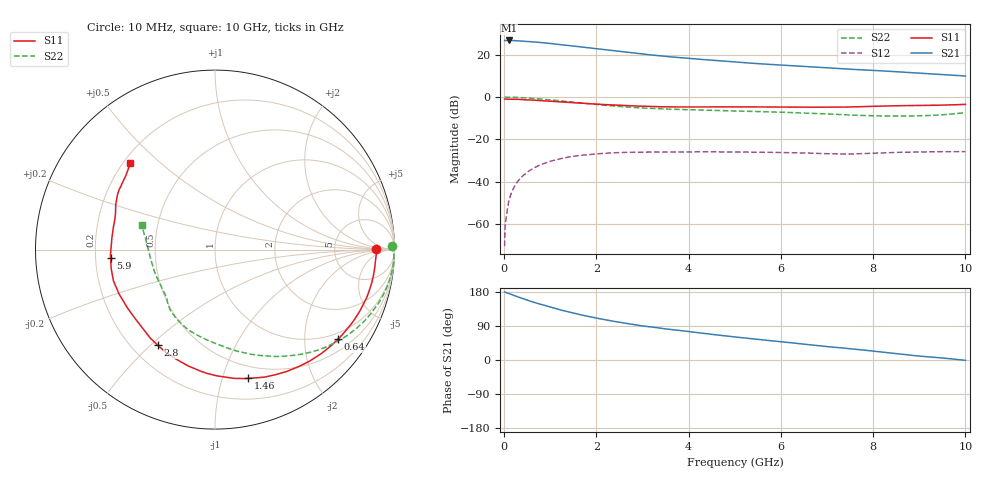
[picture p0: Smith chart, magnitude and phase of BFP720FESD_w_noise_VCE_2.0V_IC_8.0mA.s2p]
! Infineon Technologies  Discrete & RF Semiconductors
! BFP720FESD
! VCE =  2.0 V,  IC =  8.0 mA
! Common Emitter S-Parameters:  Jan 2016
# GHz  S  MA  R  50
!  f  S11  S21  S12  S22
! GHz  MAG  ANG  MAG  ANG  MAG  ANG  MAG  ANG
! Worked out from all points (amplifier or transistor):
!   233 points, 10 MHz to 10 GHz, reference 50 ohm
!   highest |S21| = 26.8 dB at 100 MHz (marker M1)
!   |S21| within 3 dB of that: start of sweep to 1.641 GHz
!   unconditionally stable (mu >= 1): 6.659 GHz to end of sweep
!   at 200 MHz: K = 0.03, MSG = 35.0 dB, |S12| = -43.2 dB
!   at 1.74 GHz: K = 0.25, MSG = 25.4 dB, |S12| = -27.3 dB
!   at 10 GHz: K = 1.37, MAG = 14.2 dB, |S12| = -25.7 dB
!   lowest NFmin = 0.62 dB at 450 MHz
!   S11 on the Smith chart (normalised r, x): 10 MHz: 19, +1; 640 MHz: 0.81, -2.86; 1.46 GHz: 0.38, -1.22; 2.8 GHz: 0.30, -0.53; 5.9 GHz: 0.26, -0.04; 10 GHz: 0.23, +0.40
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0.01  0.8981 0.2  21.84 179.7  0.0003 99.7  0.9838 1.2
0.02  0.9003 -1.0  21.79 179.1  0.0009 83.9  0.9956 -0.6
0.1  0.8962 -5.7  21.9 175.8  0.0034 87.7  0.9974 -3.8
0.2  0.893 -11.7  21.83 171.1  0.0069 83.4  0.992 -7.7
0.32  0.884 -18.6  21.51 165.7  0.011 79.1  0.9804 -12.3
0.5  0.8648 -28.6  20.86 158.0  0.0168 73.3  0.9562 -18.7
0.64  0.8471 -36.1  20.25 152.4  0.021 68.8  0.932 -23.6
0.8  0.8282 -44.4  19.49 146.5  0.0255 64.0  0.9029 -29.0
1  0.8013 -54.5  18.57 139.5  0.0304 58.3  0.8628 -35.4
1.2  0.7743 -64.2  17.62 132.8  0.0348 53.0  0.8213 -41.5
1.46  0.7403 -75.6  16.33 124.9  0.0394 46.7  0.767 -48.9
1.68  0.7148 -84.7  15.32 118.7  0.0424 41.9  0.7248 -54.6
1.92  0.6914 -93.6  14.25 112.6  0.045 37.5  0.6839 -60.5
2.2  0.6655 -102.9  13.12 105.9  0.0472 32.8  0.6424 -66.8
2.8  0.6211 -120.9  11.05 93.6  0.0499 24.5  0.5708 -79.3
3.4  0.593 -134.4  9.423 83.8  0.0503 19.4  0.5293 -88.0
4  0.5862 -146.0  8.254 74.9  0.0509 15.8  0.5056 -95.0
5.1  0.5906 -164.2  6.655 59.6  0.0505 10.6  0.4697 -108.6
5.9  0.5834 -175.6  5.834 49.5  0.0494 8.0  0.444 -117.7
6.8  0.5781 170.8  5.09 38.0  0.0468 7.3  0.4099 -128.6
8.4  0.6234 150.6  4.059 18.1  0.0491 13.4  0.3592 -155.5
10  0.6749 134.4  3.159 -0.9  0.0516 11.9  0.4295 161.7
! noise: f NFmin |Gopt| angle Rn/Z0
0.45  0.62  0.38  3  0.13
2.4  0.71  0.25  30  0.13
5.5  0.86  0.32  112  0.09
10  1.34  0.28  -156  0.1
